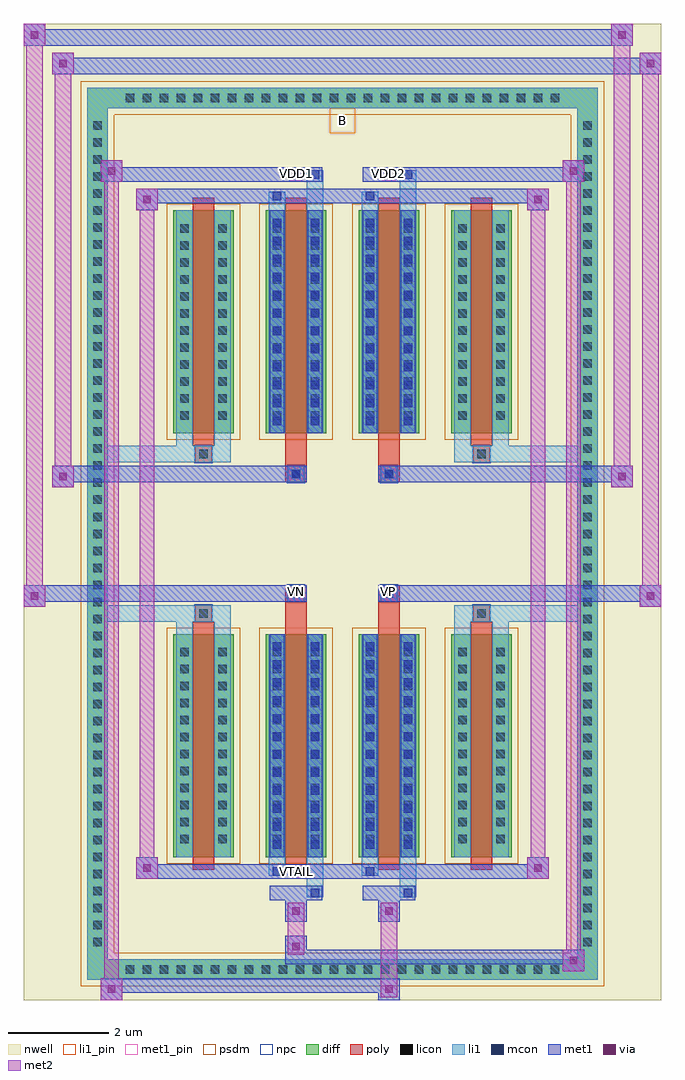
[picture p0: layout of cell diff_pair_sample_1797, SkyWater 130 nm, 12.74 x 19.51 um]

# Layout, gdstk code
import gdstk
lib = gdstk.Library(unit=1e-6, precision=5e-09)
def R(c, l, rs):  # rectangles x0, y0, x1, y1
    for r in rs: c.add(gdstk.rectangle(r[:2], r[2:], *l))
def A(c, l, x, y, w, h, nx, ny, dx, dy):  # array of equal rectangles
    R(c, l, [(x+i*dx, y+j*dy, x+i*dx+w, y+j*dy+h) for i in range(nx) for j in range(ny)])
def P(c, l, *ps):  # polygons
    for p in ps: c.add(gdstk.Polygon(p, *l))
nwell = (64, 20)
diff = (65, 20)
poly = (66, 20)
licon = (66, 44)
li1_pin = (67, 16)
li1 = (67, 20)
mcon = (67, 44)
met1_pin = (68, 16)
met1 = (68, 20)
via = (68, 44)
met2 = (69, 20)
psdm = (94, 20)
npc = (95, 20)

diff_pair_sample_1797 = lib.new_cell('diff_pair_sample_1797')
R(diff_pair_sample_1797, nwell, [(-6.37,-9.32,6.37,10.19), (-3.69,-7.51,-0.01,-0.825), (0.01,-7.51,3.69,-0.825), (-3.69,0.825,-0.01,7.51), (0.01,0.825,3.69,7.51)])
A(diff_pair_sample_1797, diff, -4.455, -8.92, 0.41, 0.41, 26, 2, 0.34, 17.43)
A(diff_pair_sample_1797, diff, -5.1, -8.365, 0.41, 0.41, 1, 49, 0, 0.34)
A(diff_pair_sample_1797, diff, 4.69, -8.365, 0.41, 0.41, 1, 49, 0, 0.34)
A(diff_pair_sample_1797, diff, -3.38, -6.465, 1.21, 4.46, 4, 2, 1.85, 8.47)
R(diff_pair_sample_1797, diff, [(-4.455,-8.92,4.455,-8.51), (-5.1,-8.365,-4.69,8.365), (4.69,-8.365,5.1,8.365), (-4.455,8.51,4.455,8.92)])
P(diff_pair_sample_1797, diff, [(5.1,8.92),(-5.1,8.92),(-5.1,-8.51),(-4.69,-8.51),(-4.69,8.51),(4.69,8.51),(4.69,-8.51),(-4.69,-8.51),(-5.1,-8.51),(-5.1,-8.92),(5.1,-8.92)])
A(diff_pair_sample_1797, poly, -2.99, -6.715, 0.43, 4.96, 4, 2, 1.85, 8.47)
R(diff_pair_sample_1797, poly, [(-2.94,-1.755,-2.61,-1.425), (-2.94,-1.755,-2.61,-1.425), (-1.14,-1.755,-0.71,-1.355), (0.71,-1.755,1.14,-1.355), (2.61,-1.755,2.94,-1.425), (2.61,-1.755,2.94,-1.425), (-1.14,-1.355,-0.71,-1.025), (-1.09,-1.355,-0.76,-1.025), (0.71,-1.355,1.14,-1.025), (0.76,-1.355,1.09,-1.025), (-1.14,1.025,-0.71,1.355), (-1.09,1.025,-0.76,1.355), (0.71,1.025,1.14,1.355), (0.76,1.025,1.09,1.355), (-1.14,1.355,-0.71,1.755), (0.71,1.355,1.14,1.755), (-2.94,1.425,-2.61,1.755), (-2.94,1.425,-2.61,1.755), (2.61,1.425,2.94,1.755), (2.61,1.425,2.94,1.755)])
A(diff_pair_sample_1797, licon, -4.335, -8.8, 0.17, 0.17, 26, 2, 0.34, 17.43)
A(diff_pair_sample_1797, licon, -4.98, -8.245, 0.17, 0.17, 1, 49, 0, 0.34)
A(diff_pair_sample_1797, licon, 4.81, -8.245, 0.17, 0.17, 1, 49, 0, 0.34)
A(diff_pair_sample_1797, licon, -3.24, -6.19, 0.17, 0.17, 1, 12, 0, 0.34)
A(diff_pair_sample_1797, licon, -2.48, -6.19, 0.17, 0.17, 1, 12, 0, 0.34)
A(diff_pair_sample_1797, licon, -1.39, -6.19, 0.17, 0.17, 1, 12, 0, 0.34)
A(diff_pair_sample_1797, licon, -0.63, -6.19, 0.17, 0.17, 1, 12, 0, 0.34)
A(diff_pair_sample_1797, licon, 0.46, -6.19, 0.17, 0.17, 1, 12, 0, 0.34)
A(diff_pair_sample_1797, licon, 1.22, -6.19, 0.17, 0.17, 1, 12, 0, 0.34)
A(diff_pair_sample_1797, licon, 2.31, -6.19, 0.17, 0.17, 1, 12, 0, 0.34)
A(diff_pair_sample_1797, licon, 3.07, -6.19, 0.17, 0.17, 1, 12, 0, 0.34)
A(diff_pair_sample_1797, licon, -3.24, 2.28, 0.17, 0.17, 1, 12, 0, 0.34)
A(diff_pair_sample_1797, licon, -2.48, 2.28, 0.17, 0.17, 1, 12, 0, 0.34)
A(diff_pair_sample_1797, licon, -1.39, 2.28, 0.17, 0.17, 1, 12, 0, 0.34)
A(diff_pair_sample_1797, licon, -0.63, 2.28, 0.17, 0.17, 1, 12, 0, 0.34)
A(diff_pair_sample_1797, licon, 0.46, 2.28, 0.17, 0.17, 1, 12, 0, 0.34)
A(diff_pair_sample_1797, licon, 1.22, 2.28, 0.17, 0.17, 1, 12, 0, 0.34)
A(diff_pair_sample_1797, licon, 2.31, 2.28, 0.17, 0.17, 1, 12, 0, 0.34)
A(diff_pair_sample_1797, licon, 3.07, 2.28, 0.17, 0.17, 1, 12, 0, 0.34)
R(diff_pair_sample_1797, licon, [(-2.86,-1.675,-2.69,-1.505), (2.69,-1.675,2.86,-1.505), (-1.01,-1.275,-0.84,-1.105), (0.84,-1.275,1.01,-1.105), (-1.01,1.105,-0.84,1.275), (0.84,1.105,1.01,1.275), (-2.86,1.505,-2.69,1.675), (2.69,1.505,2.86,1.675)])
R(diff_pair_sample_1797, li1_pin, [(-0.25,8.01,0.25,8.51)])
A(diff_pair_sample_1797, li1, -4.415, -8.88, 0.33, 0.33, 26, 2, 0.34, 17.43)
A(diff_pair_sample_1797, li1, -5.06, -8.325, 0.33, 0.33, 1, 49, 0, 0.34)
A(diff_pair_sample_1797, li1, 4.73, -8.325, 0.33, 0.33, 1, 49, 0, 0.34)
A(diff_pair_sample_1797, li1, -1.39, -6.3, 0.17, 0.17, 1, 12, 0, 0.36)
A(diff_pair_sample_1797, li1, -0.63, -6.3, 0.17, 0.17, 1, 12, 0, 0.36)
A(diff_pair_sample_1797, li1, 0.46, -6.3, 0.17, 0.17, 1, 12, 0, 0.36)
A(diff_pair_sample_1797, li1, 1.22, -6.3, 0.17, 0.17, 1, 12, 0, 0.36)
A(diff_pair_sample_1797, li1, -3.32, -6.27, 0.33, 0.33, 1, 12, 0, 0.34)
A(diff_pair_sample_1797, li1, -2.56, -6.27, 0.33, 0.33, 1, 12, 0, 0.34)
A(diff_pair_sample_1797, li1, -1.47, -6.27, 0.33, 0.33, 1, 12, 0, 0.34)
A(diff_pair_sample_1797, li1, -0.71, -6.27, 0.33, 0.33, 1, 12, 0, 0.34)
A(diff_pair_sample_1797, li1, 0.38, -6.27, 0.33, 0.33, 1, 12, 0, 0.34)
A(diff_pair_sample_1797, li1, 1.14, -6.27, 0.33, 0.33, 1, 12, 0, 0.34)
A(diff_pair_sample_1797, li1, 2.23, -6.27, 0.33, 0.33, 1, 12, 0, 0.34)
A(diff_pair_sample_1797, li1, 2.99, -6.27, 0.33, 0.33, 1, 12, 0, 0.34)
A(diff_pair_sample_1797, li1, -1.39, 2.17, 0.17, 0.17, 1, 12, 0, 0.36)
A(diff_pair_sample_1797, li1, -0.63, 2.17, 0.17, 0.17, 1, 12, 0, 0.36)
A(diff_pair_sample_1797, li1, 0.46, 2.17, 0.17, 0.17, 1, 12, 0, 0.36)
A(diff_pair_sample_1797, li1, 1.22, 2.17, 0.17, 0.17, 1, 12, 0, 0.36)
A(diff_pair_sample_1797, li1, -3.32, 2.2, 0.33, 0.33, 1, 12, 0, 0.34)
A(diff_pair_sample_1797, li1, -2.56, 2.2, 0.33, 0.33, 1, 12, 0, 0.34)
A(diff_pair_sample_1797, li1, -1.47, 2.2, 0.33, 0.33, 1, 12, 0, 0.34)
A(diff_pair_sample_1797, li1, -0.71, 2.2, 0.33, 0.33, 1, 12, 0, 0.34)
A(diff_pair_sample_1797, li1, 0.38, 2.2, 0.33, 0.33, 1, 12, 0, 0.34)
A(diff_pair_sample_1797, li1, 1.14, 2.2, 0.33, 0.33, 1, 12, 0, 0.34)
A(diff_pair_sample_1797, li1, 2.23, 2.2, 0.33, 0.33, 1, 12, 0, 0.34)
A(diff_pair_sample_1797, li1, 2.99, 2.2, 0.33, 0.33, 1, 12, 0, 0.34)
R(diff_pair_sample_1797, li1, [(-5.1,-8.92,-4.69,-8.51), (-5.1,-8.92,-4.69,-8.51), (-4.69,-8.92,4.69,-8.51), (4.69,-8.92,5.1,-8.51), (4.69,-8.92,5.1,-8.51), (-5.1,-8.51,-4.69,8.51), (4.69,-8.51,5.1,8.51), (-0.71,-7.27,-0.38,-6.465), (-0.63,-7.27,-0.46,-7.1), (1.14,-7.27,1.47,-6.465), (1.22,-7.27,1.39,-7.1), (-1.47,-6.84,-1.14,-6.465), (-1.39,-6.84,-1.22,-6.67), (0.38,-6.84,0.71,-6.465), (0.46,-6.84,0.63,-6.67), (-3.32,-6.465,-2.99,-2.005), (-2.56,-6.465,-2.23,-2.005), (-1.47,-6.465,-1.14,-2.005), (-0.71,-6.465,-0.38,-2.005), (0.38,-6.465,0.71,-2.005), (1.14,-6.465,1.47,-2.005), (2.23,-6.465,2.56,-2.005), (2.99,-6.465,3.32,-2.005), (-1.39,-6.3,-1.22,-2.17), (-0.63,-6.3,-0.46,-2.17), (0.46,-6.3,0.63,-2.17), (1.22,-6.3,1.39,-2.17), (-3.32,-2.005,-2.99,-1.425), (-2.56,-2.005,-2.23,-1.425), (2.23,-2.005,2.56,-1.425), (2.99,-2.005,3.32,-1.425), (-5.1,-1.755,-2.94,-1.425), (-3.32,-1.755,-2.94,-1.425), (-2.94,-1.755,-2.61,-1.425), (-2.61,-1.755,-2.23,-1.425), (2.23,-1.755,2.61,-1.425), (2.61,-1.755,2.94,-1.425), (2.61,-1.755,5.1,-1.425), (2.94,-1.755,3.32,-1.425), (-1.09,-1.355,-0.76,-1.025), (0.76,-1.355,1.09,-1.025), (-1.09,1.025,-0.76,1.355), (0.76,1.025,1.09,1.355), (-5.1,1.425,-2.94,1.755), (-3.32,1.425,-2.94,1.755), (-3.32,1.425,-2.99,2.005), (-2.94,1.425,-2.61,1.755), (-2.61,1.425,-2.23,1.755), (-2.56,1.425,-2.23,2.005), (2.23,1.425,2.61,1.755), (2.23,1.425,2.56,2.005), (2.61,1.425,2.94,1.755), (2.61,1.425,5.1,1.755), (2.94,1.425,3.32,1.755), (2.99,1.425,3.32,2.005), (-3.32,2.005,-2.99,6.465), (-2.56,2.005,-2.23,6.465), (-1.47,2.005,-1.14,6.465), (-0.71,2.005,-0.38,6.465), (0.38,2.005,0.71,6.465), (1.14,2.005,1.47,6.465), (2.23,2.005,2.56,6.465), (2.99,2.005,3.32,6.465), (-1.39,2.17,-1.22,6.3), (-0.63,2.17,-0.46,6.3), (0.46,2.17,0.63,6.3), (1.22,2.17,1.39,6.3), (-1.47,6.465,-1.14,6.84), (-0.71,6.465,-0.38,7.27), (0.38,6.465,0.71,6.84), (1.14,6.465,1.47,7.27), (-1.39,6.67,-1.22,6.84), (0.46,6.67,0.63,6.84), (-0.63,7.1,-0.46,7.27), (1.22,7.1,1.39,7.27), (-5.1,8.51,-4.69,8.92), (-5.1,8.51,-4.69,8.92), (-4.69,8.51,4.69,8.92), (4.69,8.51,5.1,8.92), (4.69,8.51,5.1,8.92)])
A(diff_pair_sample_1797, mcon, -1.39, -6.3, 0.17, 0.17, 1, 12, 0, 0.36)
A(diff_pair_sample_1797, mcon, -0.63, -6.3, 0.17, 0.17, 1, 12, 0, 0.36)
A(diff_pair_sample_1797, mcon, 0.46, -6.3, 0.17, 0.17, 1, 12, 0, 0.36)
A(diff_pair_sample_1797, mcon, 1.22, -6.3, 0.17, 0.17, 1, 12, 0, 0.36)
A(diff_pair_sample_1797, mcon, -1.39, 2.17, 0.17, 0.17, 1, 12, 0, 0.36)
A(diff_pair_sample_1797, mcon, -0.63, 2.17, 0.17, 0.17, 1, 12, 0, 0.36)
A(diff_pair_sample_1797, mcon, 0.46, 2.17, 0.17, 0.17, 1, 12, 0, 0.36)
A(diff_pair_sample_1797, mcon, 1.22, 2.17, 0.17, 0.17, 1, 12, 0, 0.36)
R(diff_pair_sample_1797, mcon, [(-0.63,-7.27,-0.46,-7.1), (1.22,-7.27,1.39,-7.1), (-1.39,-6.84,-1.22,-6.67), (0.46,-6.84,0.63,-6.67), (-1.01,-1.275,-0.84,-1.105), (0.84,-1.275,1.01,-1.105), (-1.01,1.105,-0.84,1.275), (0.84,1.105,1.01,1.275), (-1.39,6.67,-1.22,6.84), (0.46,6.67,0.63,6.84), (-0.63,7.1,-0.46,7.27), (1.22,7.1,1.39,7.27)])
R(diff_pair_sample_1797, met1_pin, [(-1.06,-6.88,-0.79,-6.61), (-1.06,-1.295,-0.79,-1.025), (0.79,-1.295,1.06,-1.025), (-1.06,7.06,-0.79,7.33), (0.79,7.06,1.06,7.33)])
A(diff_pair_sample_1797, met1, -1.45, -6.36, 0.29, 0.29, 1, 12, 0, 0.36)
A(diff_pair_sample_1797, met1, -0.69, -6.36, 0.29, 0.29, 1, 12, 0, 0.36)
A(diff_pair_sample_1797, met1, 0.4, -6.36, 0.29, 0.29, 1, 12, 0, 0.36)
A(diff_pair_sample_1797, met1, 1.16, -6.36, 0.29, 0.29, 1, 12, 0, 0.36)
A(diff_pair_sample_1797, met1, -1.45, 2.11, 0.29, 0.29, 1, 12, 0, 0.36)
A(diff_pair_sample_1797, met1, -0.69, 2.11, 0.29, 0.29, 1, 12, 0, 0.36)
A(diff_pair_sample_1797, met1, 0.4, 2.11, 0.29, 0.29, 1, 12, 0, 0.36)
A(diff_pair_sample_1797, met1, 1.16, 2.11, 0.29, 0.29, 1, 12, 0, 0.36)
R(diff_pair_sample_1797, met1, [(-4.83,-9.32,-4.4,-8.89), (0.71,-9.32,1.14,-8.89), (-4.83,-9.18,1.14,-8.89), (4.4,-8.75,4.83,-8.32), (-1.14,-8.61,4.83,-8.32), (-1.14,-8.47,-0.71,-8.04), (-1.14,-7.76,-0.71,-7.33), (0.71,-7.76,1.14,-7.33), (-1.45,-7.33,-0.4,-7.04), (-0.69,-7.33,-0.4,-7.04), (0.4,-7.33,1.45,-7.04), (1.16,-7.33,1.45,-7.04), (-4.12,-6.9,-3.69,-6.47), (-4.12,-6.9,-1.45,-6.61), (-1.45,-6.9,-1.16,-6.61), (-1.45,-6.9,-0.4,-6.61), (-0.4,-6.9,0.4,-6.61), (0.4,-6.9,0.69,-6.61), (0.4,-6.9,1.45,-6.61), (1.45,-6.9,4.12,-6.61), (3.69,-6.9,4.12,-6.47), (-1.45,-6.465,-1.16,-2.005), (-0.69,-6.465,-0.4,-2.005), (0.4,-6.465,0.69,-2.005), (1.16,-6.465,1.45,-2.005), (-6.37,-1.455,-5.94,-1.025), (5.94,-1.455,6.37,-1.025), (-6.37,-1.355,-0.71,-1.025), (-1.14,-1.355,-0.71,-1.025), (0.71,-1.355,1.14,-1.025), (0.71,-1.355,6.37,-1.025), (-1.07,-1.335,-0.78,-1.045), (0.78,-1.335,1.07,-1.045), (-5.8,0.925,-5.37,1.355), (5.37,0.925,5.8,1.355), (-5.8,1.025,-1.14,1.355), (-1.14,1.025,-0.71,1.355), (0.71,1.025,1.14,1.355), (1.14,1.025,5.8,1.355), (-1.07,1.045,-0.78,1.335), (0.78,1.045,1.07,1.335), (-1.45,2.005,-1.16,6.465), (-0.69,2.005,-0.4,6.465), (0.4,2.005,0.69,6.465), (1.16,2.005,1.45,6.465), (-4.12,6.47,-3.69,6.9), (3.69,6.47,4.12,6.9), (-4.12,6.61,-1.45,6.9), (-1.45,6.61,-1.16,6.9), (-1.45,6.61,-0.4,6.9), (-0.4,6.61,0.4,6.9), (0.4,6.61,0.69,6.9), (0.4,6.61,1.45,6.9), (1.45,6.61,4.12,6.9), (-4.83,7.04,-4.4,7.47), (-4.83,7.04,-1.45,7.33), (-1.45,7.04,-0.4,7.33), (-0.69,7.04,-0.4,7.33), (0.4,7.04,1.45,7.33), (1.16,7.04,1.45,7.33), (1.45,7.04,4.83,7.33), (4.4,7.04,4.83,7.47), (-5.8,9.19,-5.37,9.62), (-5.8,9.19,-3.69,9.52), (-3.69,9.19,3.69,9.52), (3.69,9.19,6.37,9.52), (5.94,9.19,6.37,9.62), (-6.37,9.76,-5.94,10.19), (-6.37,9.76,-3.69,10.09), (-3.69,9.76,3.69,10.09), (3.69,9.76,5.8,10.09), (5.37,9.76,5.8,10.19)])
R(diff_pair_sample_1797, via, [(-4.69,-9.18,-4.54,-9.03), (0.85,-9.18,1,-9.03), (4.54,-8.61,4.69,-8.46), (-1,-8.33,-0.85,-8.18), (-1,-7.62,-0.85,-7.47), (0.85,-7.62,1,-7.47), (-3.98,-6.76,-3.83,-6.61), (3.83,-6.76,3.98,-6.61), (-6.23,-1.315,-6.08,-1.165), (6.08,-1.315,6.23,-1.165), (-5.66,1.065,-5.51,1.215), (5.51,1.065,5.66,1.215), (-3.98,6.61,-3.83,6.76), (3.83,6.61,3.98,6.76), (-4.69,7.18,-4.54,7.33), (4.54,7.18,4.69,7.33), (-5.66,9.33,-5.51,9.48), (6.08,9.33,6.23,9.48), (-6.23,9.9,-6.08,10.05), (5.51,9.9,5.66,10.05)])
R(diff_pair_sample_1797, met2, [(-4.83,-9.32,-4.4,-8.89), (-4.76,-9.32,-4.47,7.47), (-4.47,-9.32,-4.4,-8.89), (-4.78,-9.27,-4.45,-8.94), (0.76,-9.27,1.09,-8.94), (0.76,-8.94,1.09,-7.71), (4.4,-8.75,4.83,-8.32), (4.47,-8.75,4.76,7.47), (4.76,-8.75,4.83,-8.32), (4.45,-8.7,4.78,-8.37), (-1.09,-8.42,-0.76,-8.09), (-1.09,-8.09,-0.76,-7.71), (-1.09,-7.71,-0.76,-7.38), (0.76,-7.71,1.09,-7.38), (-4.12,-6.9,-3.69,-6.47), (-4.05,-6.9,-3.76,6.9), (-3.76,-6.9,-3.69,-6.47), (3.69,-6.9,4.12,-6.47), (3.76,-6.9,4.05,6.9), (4.05,-6.9,4.12,-6.47), (-4.07,-6.85,-3.74,-6.52), (3.74,-6.85,4.07,-6.52), (-6.37,-1.455,-5.94,-1.025), (-6.32,-1.455,-5.99,10.19), (-5.99,-1.455,-5.94,-1.025), (5.94,-1.455,6.37,-1.025), (5.99,-1.455,6.32,9.62), (6.32,-1.455,6.37,-1.025), (-6.32,-1.405,-5.99,-1.075), (5.99,-1.405,6.32,-1.075), (-5.8,0.925,-5.37,1.355), (-5.75,0.925,-5.42,9.62), (-5.42,0.925,-5.37,1.355), (5.37,0.925,5.8,1.355), (5.42,0.925,5.75,10.19), (5.75,0.925,5.8,1.355), (-5.75,0.975,-5.42,1.305), (5.42,0.975,5.75,1.305), (-4.12,6.47,-3.69,6.9), (-3.76,6.47,-3.69,6.9), (3.69,6.47,4.12,6.9), (4.05,6.47,4.12,6.9), (-4.07,6.52,-3.74,6.85), (3.74,6.52,4.07,6.85), (-4.83,7.04,-4.4,7.47), (-4.47,7.04,-4.4,7.47), (4.4,7.04,4.83,7.47), (4.76,7.04,4.83,7.47), (-4.78,7.09,-4.45,7.42), (4.45,7.09,4.78,7.42), (-5.8,9.19,-5.37,9.62), (-5.42,9.19,-5.37,9.62), (5.94,9.19,6.37,9.62), (6.32,9.19,6.37,9.62), (-5.75,9.24,-5.42,9.57), (5.99,9.24,6.32,9.57), (-6.37,9.76,-5.94,10.19), (-5.99,9.76,-5.94,10.19), (5.37,9.76,5.8,10.19), (5.75,9.76,5.8,10.19), (-6.32,9.81,-5.99,10.14), (5.42,9.81,5.75,10.14)])
A(diff_pair_sample_1797, psdm, -3.51, -6.595, 1.47, 4.72, 4, 2, 1.85, 8.47)
P(diff_pair_sample_1797, psdm, [(5.23,9.05),(-5.23,9.05),(-5.23,-8.38),(-4.56,-8.38),(-4.56,8.38),(4.56,8.38),(4.56,-8.38),(-4.56,-8.38),(-5.23,-8.38),(-5.23,-9.05),(5.23,-9.05)])
R(diff_pair_sample_1797, npc, [(-2.96,-1.775,-2.59,-1.405), (2.59,-1.775,2.96,-1.405), (-1.11,-1.375,-0.74,-1.005), (0.74,-1.375,1.11,-1.005), (-1.11,1.005,-0.74,1.375), (0.74,1.005,1.11,1.375), (-2.96,1.405,-2.59,1.775), (2.59,1.405,2.96,1.775)])
diff_pair_sample_1797.add(gdstk.Label('VTAIL', (-0.925,-6.745), layer=68, texttype=5))
diff_pair_sample_1797.add(gdstk.Label('VN', (-0.925,-1.16), layer=68, texttype=5))
diff_pair_sample_1797.add(gdstk.Label('VP', (0.925,-1.16), layer=68, texttype=5))
diff_pair_sample_1797.add(gdstk.Label('B', (0,8.26), layer=67, texttype=5))
diff_pair_sample_1797.add(gdstk.Label('VDD2', (0.925,7.195), layer=68, texttype=5))
diff_pair_sample_1797.add(gdstk.Label('VDD1', (-0.925,7.195), layer=68, texttype=5))

lib.write_gds('diff_pair_sample_1797.gds')
